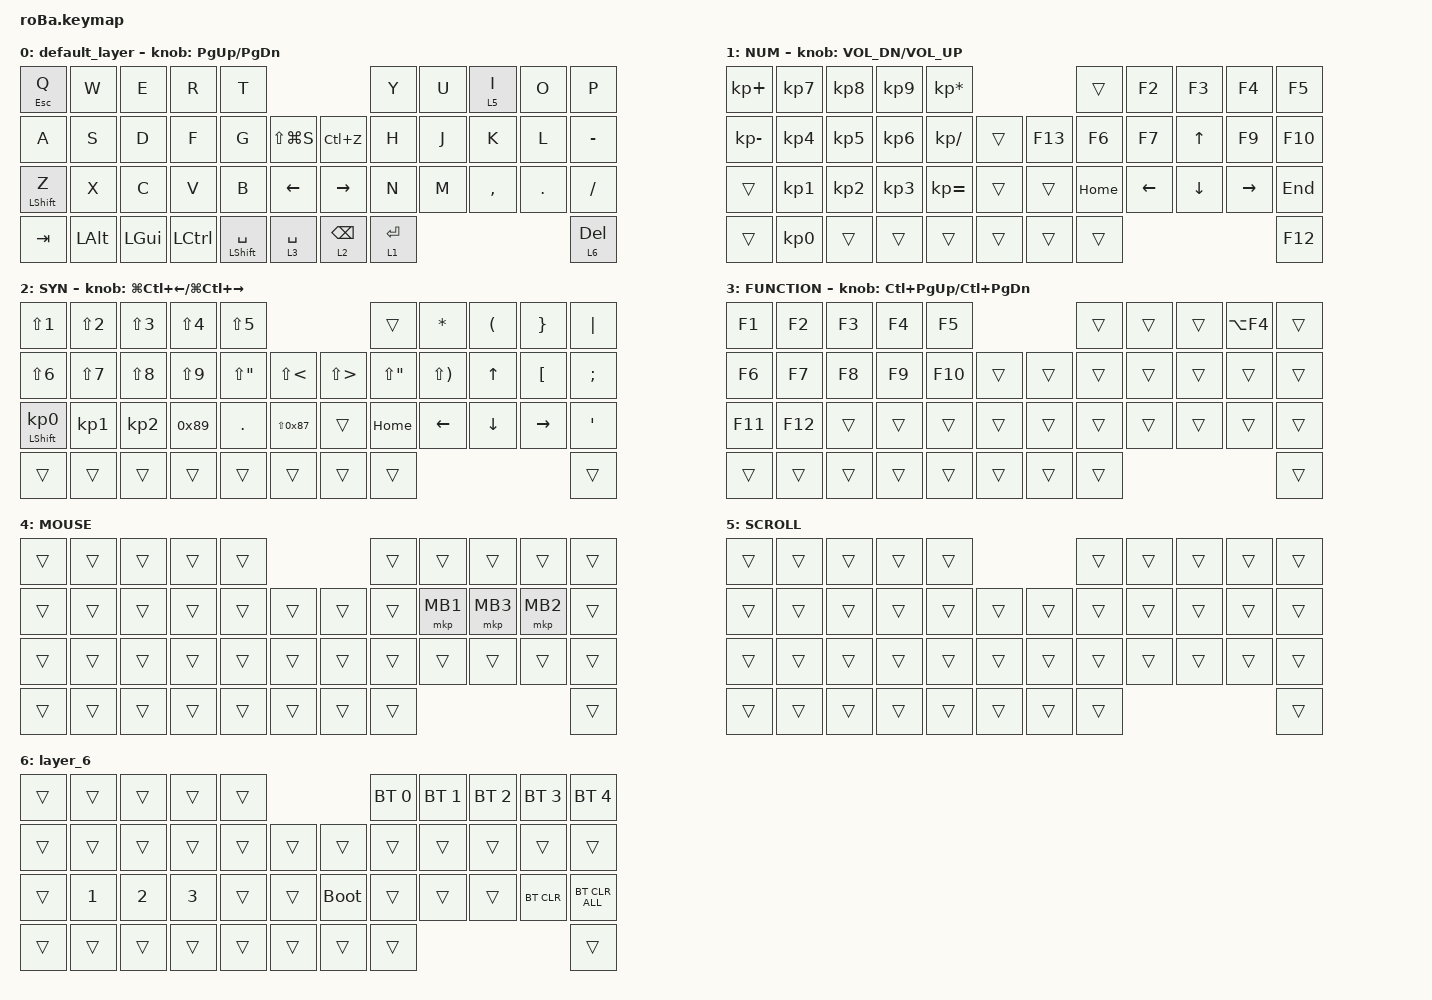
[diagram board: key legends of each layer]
#include <behaviors.dtsi>
#include <dt-bindings/zmk/bt.h>
#include <dt-bindings/zmk/keys.h>
#include <dt-bindings/zmk/pointing.h>

&mt {
    flavor = "balanced";
    quick-tap-ms = <0>;
};

&trackball {
    automouse-layer = <4>;
    scroll-layers = <5>;

    // arrows {
    //     layers = <3>;
    //     bindings =
    //         <&kp RIGHT_ARROW>,
    //         <&kp LEFT_ARROW>,
    //         <&kp UP_ARROW>,
    //         <&kp DOWN_ARROW>;
    //     tick = <10>;
    //     wait-ms = <5>;
    //     tap-ms = <5>;
    // };
};

/ {
    combos {
        compatible = "zmk,combos";

        tab {
            bindings = <&kp TAB>;
            key-positions = <11 12>;
        };

        shift_tab {
            bindings = <&kp LS(TAB)>;
            key-positions = <12 13>;
        };

        muhennkann {
            bindings = <&to_layer_0 INT_MUHENKAN>;
            key-positions = <11 10>;
        };

        double_quotation {
            bindings = <&kp DOUBLE_QUOTES>;
            key-positions = <20 21>;
        };

        eq {
            bindings = <&kp EQUAL>;
            key-positions = <24 25>;
        };

        kana_toggle {
            bindings = <&kp GRAVE>;
            key-positions = <13 14>;
        };
    };

    macros {
        to_layer_0: to_layer_0 {
            compatible = "zmk,behavior-macro-one-param";
            #binding-cells = <1>;
            bindings = <&to 0 &macro_param_1to1 &kp MACRO_PLACEHOLDER>;
            label = "TO_LAYER_0";
        };
    };

    behaviors {
        lt_to_layer_0: lt_to_layer_0 {
            compatible = "zmk,behavior-hold-tap";
            label = "LAYER_TAP_TO_0";
            bindings = <&mo>, <&to_layer_0>;

            #binding-cells = <2>;
            tapping-term-ms = <200>;
        };
    };

    keymap {
        compatible = "zmk,keymap";

        default_layer {
            bindings = <
&mt ESCAPE Q      &kp W         &kp E         &kp R      &kp T                                                      &kp Y        &kp U  &lt 5 I    &kp O    &kp P
&kp A             &kp S         &kp D         &kp F      &kp G                 &kp LS(LG(S))       &kp LC(Z)        &kp H        &kp J  &kp K      &kp L    &kp MINUS
&mt LEFT_SHIFT Z  &kp X         &kp C         &kp V      &kp B                 &kp LEFT_ARROW      &kp RIGHT_ARROW  &kp N        &kp M  &kp COMMA  &kp DOT  &kp SLASH
&kp TAB           &kp LEFT_ALT  &kp LEFT_GUI  &kp LCTRL  &mt LEFT_SHIFT SPACE  &lt 3 SPACE         &lt 2 BACKSPACE  &lt 1 ENTER                             &lt 6 DEL
            >;

            sensor-bindings = <&inc_dec_kp PG_UP PAGE_DOWN>;
        };

        NUM {
            bindings = <
&kp KP_PLUS   &kp KP_NUMBER_7  &kp KP_NUMBER_8  &kp KP_NUMBER_9  &kp KP_ASTERISK                       &trans    &kp F2    &kp F3        &kp F4     &kp F5
&kp KP_MINUS  &kp KP_NUMBER_4  &kp KP_NUMBER_5  &kp KP_NUMBER_6  &kp KP_SLASH     &trans      &kp F13  &kp F6    &kp F7    &kp UP_ARROW  &kp F9     &kp F10
&trans        &kp KP_N1        &kp KP_NUMBER_2  &kp KP_NUMBER_3  &kp KP_EQUAL     &trans      &trans   &kp HOME  &kp LEFT  &kp DOWN      &kp RIGHT  &kp END
&trans        &kp KP_N0        &trans           &trans           &trans           &trans      &trans   &trans                                       &kp F12
            >;

            sensor-bindings = <&inc_dec_kp C_VOL_DN C_VOL_UP>;
        };

        SYN {
            bindings = <
&kp LS(NUMBER_1)            &kp LS(NUMBER_2)  &kp LS(NUMBER_3)  &kp LS(NUMBER_4)  &kp LS(N5)                                                          &trans                 &kp ASTERISK               &kp LEFT_PARENTHESIS  &kp RIGHT_BRACE   &kp PIPE
&kp LS(NUMBER_6)            &kp LS(N7)        &kp LS(N8)        &kp LS(N9)        &kp LS(DOUBLE_QUOTES)  &kp LS(LESS_THAN)      &kp LS(GREATER_THAN)  &kp LS(DOUBLE_QUOTES)  &kp LS(RIGHT_PARENTHESIS)  &kp UP_ARROW          &kp LEFT_BRACKET  &kp SEMICOLON
&mt LEFT_SHIFT KP_NUMBER_0  &kp KP_NUMBER_1   &kp KP_NUMBER_2   &kp 0x89          &kp PERIOD             &kp LS(0x87)           &trans                &kp HOME               &kp LEFT                   &kp DOWN              &kp RIGHT         &kp SINGLE_QUOTE
&trans                      &trans            &trans            &trans            &trans                 &trans                 &trans                &trans                                                                                    &trans
            >;

            sensor-bindings = <&inc_dec_kp LG(LC(LEFT)) LG(LC(RIGHT))>;
        };

        FUNCTION {
            bindings = <
&kp F1   &kp F2   &kp F3  &kp F4  &kp F5                       &trans  &trans  &trans  &kp LA(F4)  &trans
&kp F6   &kp F7   &kp F8  &kp F9  &kp F10  &trans      &trans  &trans  &trans  &trans  &trans      &trans
&kp F11  &kp F12  &trans  &trans  &trans   &trans      &trans  &trans  &trans  &trans  &trans      &trans
&trans   &trans   &trans  &trans  &trans   &trans      &trans  &trans                              &trans
            >;

            sensor-bindings = <&inc_dec_kp LC(PAGE_UP) LC(PAGE_DOWN)>;
        };

        MOUSE {
            bindings = <
&trans  &trans  &trans  &trans  &trans                      &trans  &trans    &trans    &trans    &trans
&trans  &trans  &trans  &trans  &trans  &trans      &trans  &trans  &mkp MB1  &mkp MB3  &mkp MB2  &trans
&trans  &trans  &trans  &trans  &trans  &trans      &trans  &trans  &trans    &trans    &trans    &trans
&trans  &trans  &trans  &trans  &trans  &trans      &trans  &trans                                &trans
            >;
        };

        SCROLL {
            bindings = <
&trans  &trans  &trans  &trans  &trans                      &trans  &trans  &trans  &trans  &trans
&trans  &trans  &trans  &trans  &trans  &trans      &trans  &trans  &trans  &trans  &trans  &trans
&trans  &trans  &trans  &trans  &trans  &trans      &trans  &trans  &trans  &trans  &trans  &trans
&trans  &trans  &trans  &trans  &trans  &trans      &trans  &trans                          &trans
            >;
        };

        layer_6 {
            bindings = <
&trans  &trans        &trans        &trans        &trans                           &bt BT_SEL 0  &bt BT_SEL 1  &bt BT_SEL 2  &bt BT_SEL 3  &bt BT_SEL 4
&trans  &trans        &trans        &trans        &trans  &trans      &trans       &trans        &trans        &trans        &trans        &trans
&trans  &kp NUMBER_1  &kp NUMBER_2  &kp NUMBER_3  &trans  &trans      &bootloader  &trans        &trans        &trans        &bt BT_CLR    &bt BT_CLR_ALL
&trans  &trans        &trans        &trans        &trans  &trans      &trans       &trans                                                  &trans
            >;
        };
    };
};
